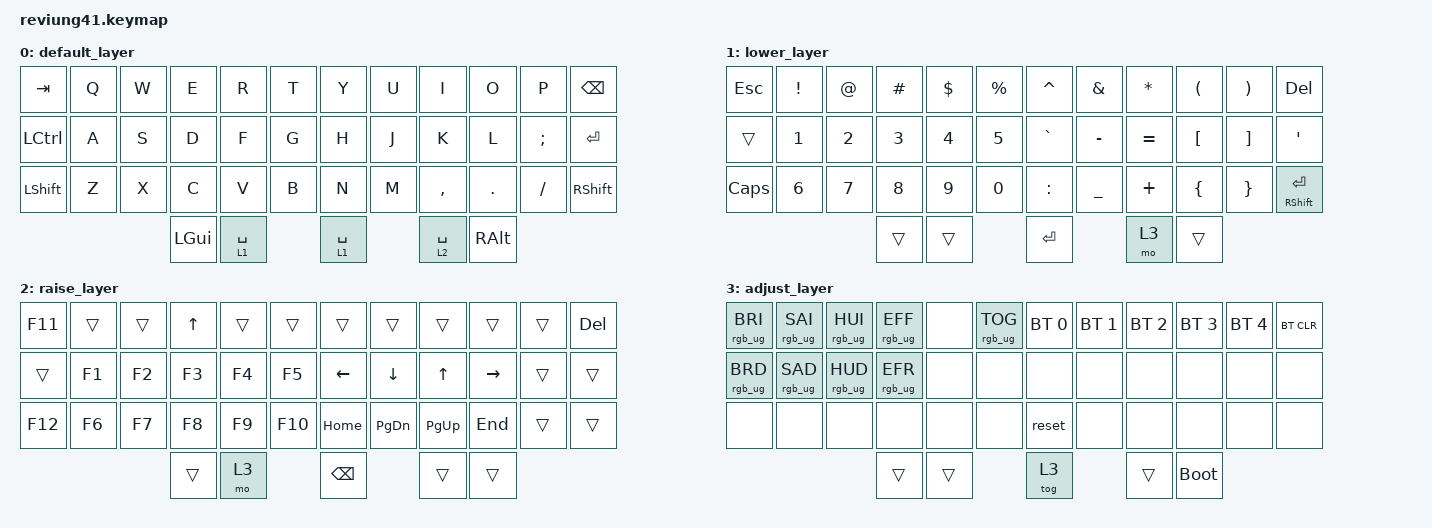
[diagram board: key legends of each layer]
/*
 * Copyright (c) 2020 The ZMK Contributors
 *
 * SPDX-License-Identifier: MIT
 */

#include <behaviors.dtsi>
#include <dt-bindings/zmk/keys.h>
#include <dt-bindings/zmk/bt.h>
#include <dt-bindings/zmk/rgb.h>

/ {
        keymap {
                compatible = "zmk,keymap";

                default_layer {
// -------------------------------------------------------------------------------------
// |  TAB |  Q  |  W  |  E  |  R  |  T  |   |  Y  |  U   |  I  |  O  |  P  |   BKSP    |
// | CTRL |  A  |  S  |  D  |  F  |  G  |   |  H  |  J   |  K  |  L  |  ;  |  ENTER    |
// | SHFT |  Z  |  X  |  C  |  V  |  B  |   |  N  |  M   |  ,  |  .  |  /  | SHFT(RET) |
//                         | GUI | LWR | SPC | RgSE  | ALT |
                        bindings = <
   &kp TAB   &kp Q &kp W &kp E &kp R &kp T   &kp Y &kp U  &kp I     &kp O   &kp P    &kp BSPC
   &kp LCTRL &kp A &kp S &kp D &kp F &kp G   &kp H &kp J  &kp K     &kp L   &kp SEMI &kp RET
   &kp LSHFT &kp Z &kp X &kp C &kp V &kp B   &kp N &kp M  &kp COMMA &kp DOT &kp FSLH &kp RSHFT
                        &kp LGUI  &lt 1 SPACE &lt 1 SPACE &lt 2 SPACE  &kp RALT
                        >;
                };
              lower_layer {
// ----------------------------------------------------------------------------------
// | ESC  |  !  |  @  |  #  |  $  |  %  |   |  ^  |  &  |  *  |  (  |  )  |    DEL    |
// |      |  1  |  2  |  3  |  4  | 5   |   | ~   |   - |  =  | [   |  ]  |     '     |
// | CAPS | 6   |  7  | 8   |  9  |  0  |   | :   |   _ |  +  | {   | }   | SHFT(RET) |
//                       |     |     | RET | ADJ |     |
                        bindings = <
   &kp ESC &kp EXCL  &kp AT   &kp HASH &kp DLLR &kp PRCNT        &kp CARET &kp AMPS &kp STAR    &kp LPAR  &kp RPAR  &kp DEL
   &trans &kp N1 &kp N2 &kp N3 &kp N4 &kp N5               &kp GRAVE  &kp MINUS &kp EQUAL    &kp LBKT &kp RBKT &kp SQT
   &kp CAPS &kp N6   &kp N7    &kp N8 &kp N9 &kp N0          &kp COLON  &kp UNDER  &kp PLUS &kp LBRC &kp RBRC &mt RSHFT RET
                                 &trans      &trans         &kp RET        &mo 3       &trans
                        >;
                };

                raise_layer {
// -----------------------------------------------------------------------------------------
// |  F11  |      |      |      |       |      |         |       |       |       |        |     |  DEL  |
// |       |  F1  |  F2  |  F3  |  F4   |  F5  |         | LEFT  | DOWN  | UP    | RIGHT  |     |  INS  |
// |  F12  |  F6  |  F7  |  F8  |  F9   |  F10 |         | HOME  | PG_DN | PG_UP | END    |     |       |
//                              | PSCRN | ADJ  |  BKSP   |       |     |
                        bindings = <
   &kp F11 &trans    &trans    &kp UP    &trans    &trans        &trans   &trans    &trans    &trans    &trans    &kp DEL
   &trans &kp F1    &kp F2    &kp F3   &kp F4    &kp F5      &kp LEFT    &kp  DOWN   &kp UP    &kp RIGHT    &trans     &trans 
   &kp F12  &kp F6  &kp F7   &kp F8    &kp F9      &kp F10       &kp HOME     &kp PG_DN     &kp PG_UP     &kp END    &trans    &trans 
                                &trans      &mo 3       &kp BSPC        &trans      &trans
                        >;
                };

                adjust_layer {
// -----------------------------------------------------------------------------------------
// | RGB BRI+ | RGB SAT+ | RGB HUE+ | RGB ANI+ |    | RGB TOG |   |  BT1  | BT2 | BT3 | BT4 | BT5 | BT CLR |
// | RGB BRI- | RGB SAT- | RGB HUE- | RGB ANI+ |    |         |   |       |     |     |     |     |        |
// |          |          |          |          |    |         |   | RESET |     |     |     |     |        |
//                                              |     |     |     |     | BOOT  |
                        bindings = <
   &rgb_ug RGB_BRI &rgb_ug RGB_SAI &rgb_ug RGB_HUI &rgb_ug RGB_EFF &none &rgb_ug RGB_TOG    &bt BT_SEL 0 &bt BT_SEL 1 &bt BT_SEL 2 &bt BT_SEL 3 &bt BT_SEL 4 &bt BT_CLR
   &rgb_ug RGB_BRD &rgb_ug RGB_SAD &rgb_ug RGB_HUD &rgb_ug RGB_EFR &none &none              &none        &none        &none        &none        &none        &none
   &none           &none           &none           &none           &none &none              &reset       &none        &none        &none        &none        &none
                                                             &trans      &trans       &tog 3        &trans      &bootloader
                        >;
                };
        };
};
